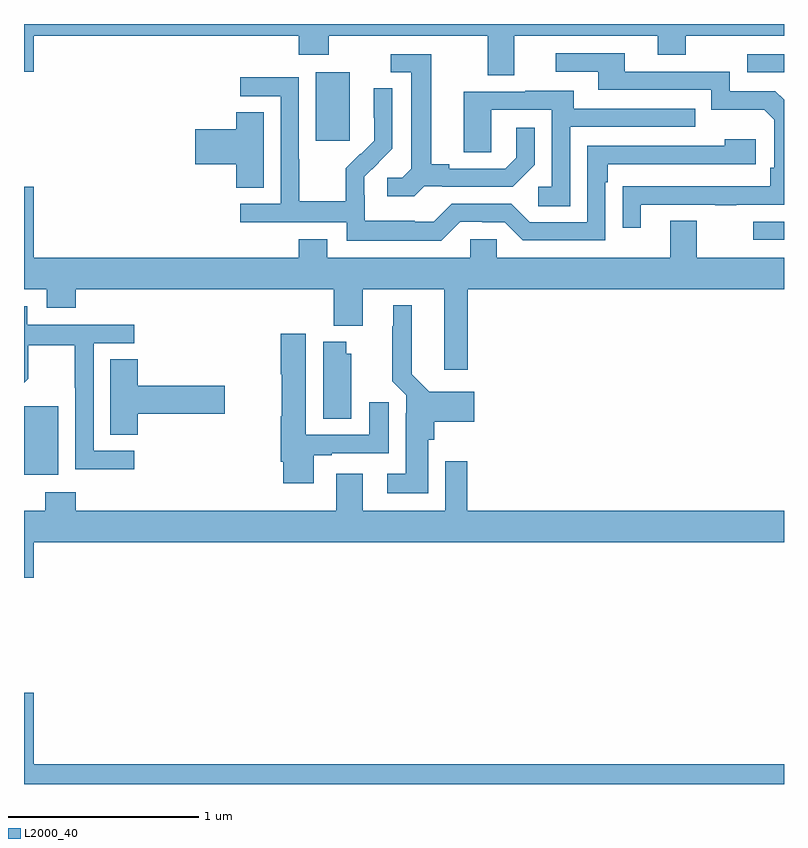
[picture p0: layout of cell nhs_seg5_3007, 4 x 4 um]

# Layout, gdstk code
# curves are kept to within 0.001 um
import gdstk
lib = gdstk.Library(unit=1e-6, precision=1e-09)
def R(c, l, rs):  # rectangles x0, y0, x1, y1
    for r in rs: c.add(gdstk.rectangle(r[:2], r[2:], *l))
def P(c, l, *ps):  # polygons
    for p in ps: c.add(gdstk.Polygon(p, *l))
L2000_40 = (2000, 40)

nhs_seg5_3007 = lib.new_cell('nhs_seg5_3007')
R(nhs_seg5_3007, L2000_40, [(285.002,878.426,285.181,878.787), (288.837,879.663,289,879.759), (286.535,880.185,286.714,880.546), (288.807,880.545,289,880.641)])
P(nhs_seg5_3007, L2000_40, [(287.581,880.736),(288.335,880.736),(288.335,880.637),(288.483,880.637),(288.483,880.736),(289,880.736),(289,880.799),(285,880.799),(285,880.548),(285.052,880.548),(285.052,880.736),(286.445,880.736),(286.445,880.637),(286.605,880.637),(286.605,880.736),(287.441,880.736),(287.441,880.528),(287.581,880.528)],
  [(288.247,879.849),(288.637,879.849),(288.637,879.844),(288.749,879.844),(288.749,879.849),(289,879.849),(289,880.4),(288.954,880.446),(288.714,880.446),(288.714,880.548),(288.163,880.548),(288.163,880.644),(287.799,880.644),(287.799,880.548),(288.023,880.548),(288.023,880.452),(288.618,880.452),(288.618,880.349),(288.895,880.349),(288.948,880.296),(288.948,880.042),(288.928,880.042),(288.928,879.945),(288.151,879.944),(288.151,879.726),(288.247,879.726)],
  [(287.106,879.945),(287.2,879.945),(287.2,879.942),(287.572,879.942),(287.688,880.058),(287.688,880.252),(287.591,880.252),(287.591,880.095),(287.534,880.038),(287.239,880.038),(287.239,880.061),(287.143,880.061),(287.143,880.641),(286.929,880.641),(286.929,880.545),(287.039,880.545),(287.039,880.037),(286.992,879.99),(286.911,879.99),(286.911,879.893),(287.054,879.893)],
  [(287.295,879.759),(287.411,879.759),(287.411,879.756),(287.529,879.756),(287.625,879.66),(288.06,879.66),(288.06,879.965),(288.073,879.965),(288.073,880.062),(288.85,880.062),(288.85,880.192),(288.689,880.192),(288.689,880.158),(287.964,880.158),(287.964,879.756),(287.661,879.756),(287.565,879.852),(287.25,879.852),(287.157,879.759),(287.057,879.759),(287.057,879.763),(286.794,879.763),(286.794,879.897),(286.792,879.897),(286.792,879.994),(286.938,880.142),(286.938,880.46),(286.842,880.46),(286.842,880.306),(286.844,880.306),(286.844,880.184),(286.773,880.113),(286.77,880.116),(286.693,880.039),(286.693,879.865),(286.449,879.865),(286.449,880.088),(286.446,880.088),(286.446,880.518),(286.137,880.518),(286.137,880.419),(286.35,880.419),(286.35,879.852),(286.137,879.852),(286.137,879.756),(286.698,879.756),(286.698,879.659),(287.195,879.659)],
  [(287.874,880.257),(288.533,880.257),(288.533,880.353),(287.893,880.353),(287.893,880.447),(287.639,880.447),(287.639,880.443),(287.315,880.443),(287.315,880.123),(287.46,880.123),(287.46,880.347),(287.778,880.347),(287.778,879.942),(287.706,879.942),(287.706,879.841),(287.874,879.841)],
  [(286.261,880.334),(286.118,880.334),(286.118,880.244),(285.9,880.244),(285.9,880.061),(286.118,880.061),(286.118,879.937),(286.261,879.937)],
  [(287.336,879.404),(289,879.404),(289,879.568),(288.541,879.568),(288.541,879.763),(288.401,879.763),(288.401,879.568),(287.487,879.568),(287.487,879.666),(287.349,879.666),(287.349,879.568),(286.597,879.568),(286.597,879.667),(286.445,879.667),(286.445,879.568),(285.052,879.568),(285.052,879.943),(285,879.943),(285,879.404),(285.119,879.404),(285.119,879.305),(285.272,879.305),(285.272,879.404),(286.631,879.404),(286.631,879.212),(286.783,879.212),(286.783,879.404),(287.213,879.404),(287.213,878.979),(287.336,878.979)],
  [(287.128,878.61),(287.159,878.61),(287.159,878.705),(287.371,878.705),(287.371,878.863),(287.133,878.863),(287.041,878.956),(287.041,879.319),(286.943,879.319),(286.943,879.209),(286.939,879.209),(286.939,878.918),(287.013,878.844),(287.013,878.75),(287.009,878.75),(287.009,878.431),(286.911,878.431),(286.911,878.33),(287.128,878.33)],
  [(285.58,878.553),(285.366,878.553),(285.366,879.12),(285.58,879.12),(285.58,879.216),(285.018,879.216),(285.018,879.313),(285,879.313),(285,878.91),(285.023,878.933),(285.023,879.108),(285.268,879.108),(285.268,878.884),(285.27,878.884),(285.27,878.455),(285.58,878.455)],
  [(286.525,878.529),(286.621,878.529),(286.621,878.541),(286.921,878.541),(286.921,878.809),(286.817,878.809),(286.817,878.637),(286.483,878.637),(286.483,879.169),(286.352,879.169),(286.352,878.956),(286.357,878.956),(286.357,878.734),(286.352,878.734),(286.352,878.494),(286.364,878.494),(286.364,878.382),(286.525,878.382)],
  [(286.723,879.063),(286.696,879.063),(286.696,879.127),(286.574,879.127),(286.574,878.722),(286.723,878.722)],
  [(285.599,878.747),(286.057,878.747),(286.057,878.894),(285.599,878.894),(285.599,879.035),(285.455,879.035),(285.455,878.638),(285.599,878.638)],
  [(285.052,878.072),(289,878.072),(289,878.236),(287.333,878.236),(287.333,878.497),(287.217,878.497),(287.217,878.236),(286.783,878.236),(286.783,878.431),(286.643,878.431),(286.643,878.236),(285.272,878.236),(285.272,878.335),(285.112,878.335),(285.112,878.236),(285,878.236),(285,877.884),(285.052,877.884)],
  [(289,876.904),(285.052,876.904),(285.052,877.279),(285,877.279),(285,876.799),(289,876.799)])

lib.write_gds('nhs_seg5_3007.gds')
